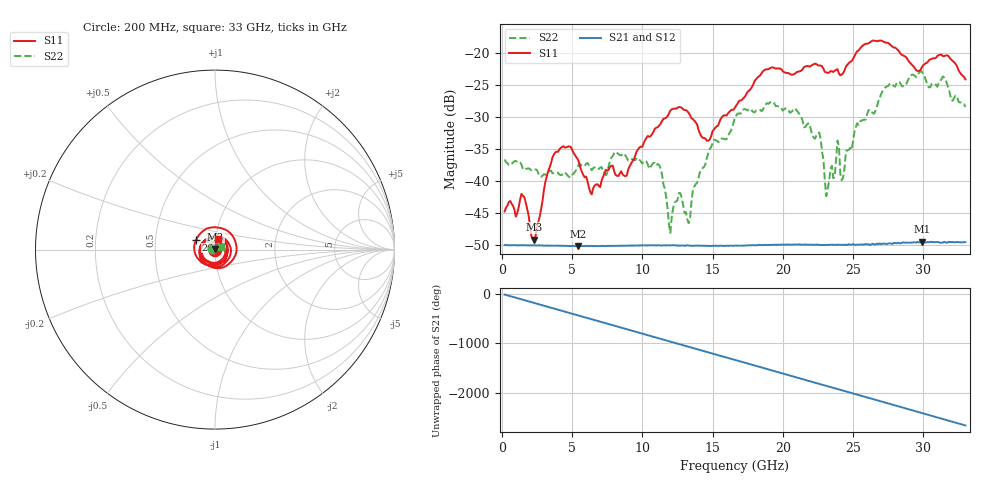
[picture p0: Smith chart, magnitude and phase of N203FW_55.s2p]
# GHZ S RI R 50
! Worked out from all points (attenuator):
!   329 points, 200 MHz to 33 GHz, reference 50 ohm
!   highest |S21| = -49.41 dB at 29.9 GHz (marker M1); lowest = -50.1 dB at 5.4 GHz (marker M2)
!   lowest |S11| = -49.1 dB at 2.3 GHz (marker M3), VSWR 1.01, Z = 50.1 + j0.333 ohm
!   |S11| at or under -10 dB: start of sweep to end of sweep
!   |S22| runs from -48.1 to -22.8 dB; largest |S21 - S12| = 8.8e-05
!   S11 on the Smith chart (normalised r, x): 200 MHz: 1.01, +0.00; 26 GHz: 0.81, +0.09; 33 GHz: 1.03, +0.12
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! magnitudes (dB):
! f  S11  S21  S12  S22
! 200 MHz  -44.7  -50.0  -49.9  -36.6
! 1.4 GHz  -42.0  -50.0  -50.0  -37.4
! 2.3 GHz  -49.1  -50.0  -50.0  -38.2
! 3.7 GHz  -35.8  -50.1  -50.0  -38.8
! 5.4 GHz  -36.5  -50.1  -50.1  -37.8
! 5.7 GHz  -38.5  -50.1  -50.1  -37.6
! 8.8 GHz  -39.2  -50.0  -50.0  -36.0
! 11.2 GHz  -31.3  -50.0  -50.0  -37.5
! 12 GHz  -28.9  -50.0  -50.0  -48.1
! 12.6 GHz  -28.4  -50.0  -50.0  -41.8
! 13.3 GHz  -29.3  -50.0  -50.0  -46.5
! 14.7 GHz  -33.6  -50.1  -50.1  -35.6
! 16.6 GHz  -28.5  -50.0  -50.0  -30.0
! 22.1 GHz  -21.8  -49.9  -49.9  -32.8
! 22.6 GHz  -21.9  -49.9  -49.9  -32.4
! 23.1 GHz  -23.0  -49.9  -49.9  -42.3
! 23.9 GHz  -22.5  -49.9  -49.9  -33.6
! 24.2 GHz  -23.3  -49.9  -49.9  -39.8
! 26 GHz  -18.5  -49.9  -49.8  -29.5
! 27.6 GHz  -18.6  -49.7  -49.7  -24.8
! 29.9 GHz  -22.2  -49.4  -49.5  -22.8
! 33 GHz  -24.1  -49.5  -49.5  -28.4
